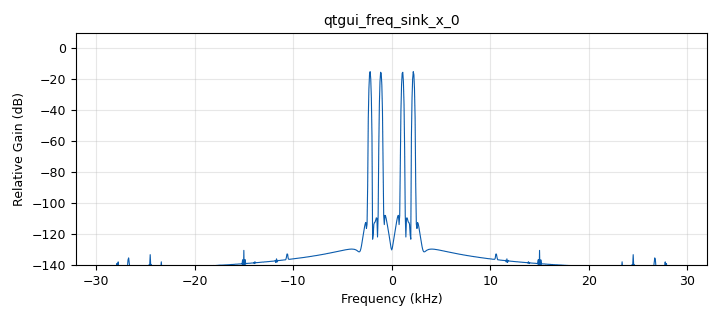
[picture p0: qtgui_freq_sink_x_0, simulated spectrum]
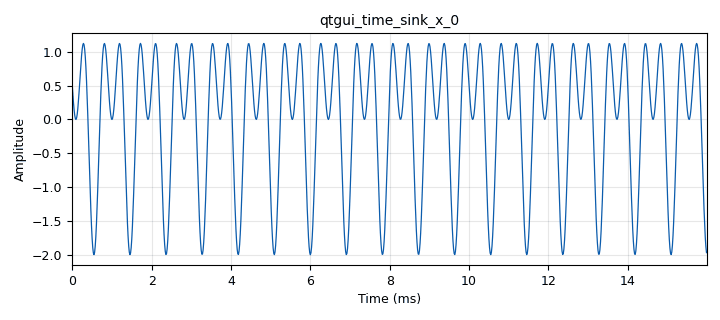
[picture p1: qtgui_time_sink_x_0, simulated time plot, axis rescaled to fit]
options:
  parameters:
    generate_options: qt_gui
    id: top_block
    output_language: python
    title: Not titled yet
  states: {}

blocks:
- name: samp_rate
  id: variable
  parameters:
    value: '64000'
  states: {}
- name: analog_sig_source_x_0
  id: analog_sig_source_x
  parameters:
    amp: '1'
    freq: '1100'
    offset: '0'
    phase: '0'
    samp_rate: samp_rate
    type: float
    waveform: analog.GR_COS_WAVE
  states: {}
- name: analog_sig_source_x_0_0
  id: analog_sig_source_x
  parameters:
    amp: '1'
    freq: '2200'
    offset: '0'
    phase: '0'
    samp_rate: samp_rate
    type: float
    waveform: analog.GR_COS_WAVE
  states: {}
- name: blocks_add_xx_0
  id: blocks_add_xx
  parameters:
    type: float
  states: {state: disabled}
- name: blocks_sub_xx_0
  id: blocks_sub_xx
  parameters:
    type: float
  states: {}
- name: blocks_throttle_0
  id: blocks_throttle
  parameters:
    samples_per_second: samp_rate
    type: float
  states: {}
- name: qtgui_freq_sink_x_0
  id: qtgui_freq_sink_x
  parameters:
    bw: samp_rate
    fc: '0'
    fftsize: '1024'
    type: float
  states: {}
- name: qtgui_time_sink_x_0
  id: qtgui_time_sink_x
  parameters:
    size: '1024'
    srate: samp_rate
    type: float
  states: {}
- name: qtgui_waterfall_sink_x_0
  id: qtgui_waterfall_sink_x
  parameters:
    bw: samp_rate
    fc: '0'
    fftsize: '1024'
    type: float
  states: {state: disabled}

connections:
- [analog_sig_source_x_0, '0', blocks_add_xx_0, '0']
- [analog_sig_source_x_0, '0', blocks_sub_xx_0, '0']
- [analog_sig_source_x_0_0, '0', blocks_add_xx_0, '1']
- [analog_sig_source_x_0_0, '0', blocks_sub_xx_0, '1']
- [blocks_add_xx_0, '0', blocks_throttle_0, '0']
- [blocks_sub_xx_0, '0', blocks_throttle_0, '0']
- [blocks_throttle_0, '0', qtgui_freq_sink_x_0, '0']
- [blocks_throttle_0, '0', qtgui_time_sink_x_0, '0']
- [blocks_throttle_0, '0', qtgui_waterfall_sink_x_0, '0']

metadata:
  file_format: 1
